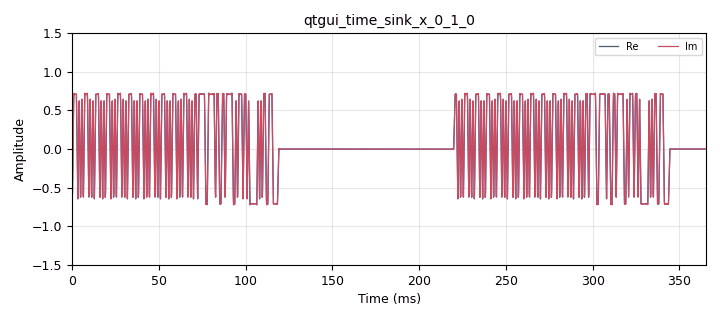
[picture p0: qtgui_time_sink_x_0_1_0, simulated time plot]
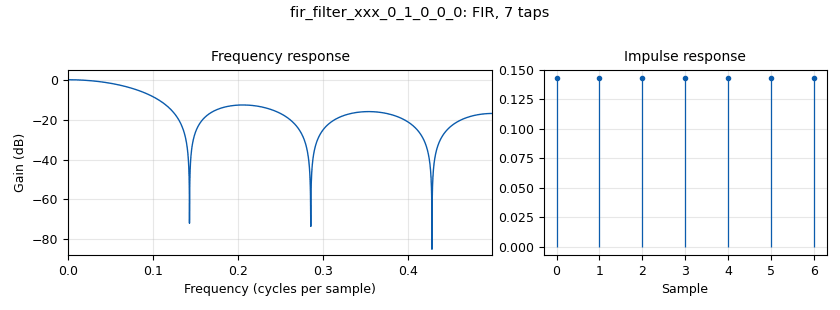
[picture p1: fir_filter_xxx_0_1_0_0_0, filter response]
<?xml version='1.0' encoding='utf-8'?>
<?grc format='1' created='3.7.11'?>
<!--
Copyright (C) 2016-2017 Andy Walls awalls.cx18@gmail.com
This file is part of GNU Radio
GNU Radio is free software; you can redistribute it and/or modify
it under the terms of the GNU General Public License as published by
the Free Software Foundation; either version 3, or (at your option)
any later version.
GNU Radio is distributed in the hope that it will be useful,
but WITHOUT ANY WARRANTY; without even the implied warranty of
MERCHANTABILITY or FITNESS FOR A PARTICULAR PURPOSE.  See the
GNU General Public License for more details.
You should have received a copy of the GNU General Public License
along with GNU Radio; see the file COPYING.  If not, write to
the Free Software Foundation, Inc., 51 Franklin Street,
Boston, MA 02110-1301, USA.
-->
<flow_graph>
<block>
<key>options</key>
<param><key>id</key><value>symbol_sync_test_complex</value></param>
<param><key>author</key><value>Andy Walls</value></param>
<param><key>category</key><value>Custom</value></param>
<param><key>generate_options</key><value>qt_gui</value></param>
<param><key>title</key><value>Symbol Sync Test (Complex)</value></param>
</block>
<block>
<key>variable</key>
<param><key>id</key><value>baud_rate</value></param>
<param><key>value</key><value>1200.0</value></param>
</block>
<block>
<key>variable_qtgui_chooser</key>
<param><key>id</key><value>data_src</value></param>
<param><key>value</key><value>4</value></param>
<param><key>gui_hint</key><value>0,0,1,1</value></param>
<param><key>label0</key><value>Random</value></param>
<param><key>label1</key><value>Low freq</value></param>
<param><key>label2</key><value>Dot Pattern</value></param>
<param><key>label3</key><value>Pulse</value></param>
<param><key>label4</key><value>Packets</value></param>
<param><key>num_opts</key><value>5</value></param>
<param><key>option0</key><value>0</value></param>
<param><key>option1</key><value>1</value></param>
<param><key>option2</key><value>2</value></param>
<param><key>option3</key><value>3</value></param>
<param><key>option4</key><value>4</value></param>
<param><key>type</key><value>int</value></param>
</block>
<block>
<key>variable_qtgui_range</key>
<param><key>id</key><value>fn_norm</value></param>
<param><key>value</key><value>0.030</value></param>
<param><key>gui_hint</key><value>1,1,1,1</value></param>
<param><key>label</key><value>Normalized Bandwidth</value></param>
<param><key>orient</key><value>Qt.Horizontal</value></param>
<param><key>start</key><value>0.0</value></param>
<param><key>step</key><value>0.001</value></param>
<param><key>stop</key><value>0.25</value></param>
</block>
<block>
<key>variable</key>
<param><key>id</key><value>gain_mu</value></param>
<param><key>value</key><value>2.0*math.exp(zeta*omega_n_norm)*((math.cosh(omega_d_norm) if zeta &gt; 1.0 else math.cos(omega_d_norm))-math.exp(-zeta*omega_n_norm))</value></param>
</block>
<block>
<key>variable_qtgui_label</key>
<param><key>id</key><value>gain_mu_label</value></param>
<param><key>value</key><value>"%8.6f" % gain_mu</value></param>
<param><key>gui_hint</key><value>1,2,1,1</value></param>
<param><key>label</key><value>Gain Mu</value></param>
<param><key>type</key><value>string</value></param>
</block>
<block>
<key>variable</key>
<param><key>id</key><value>gain_omega</value></param>
<param><key>value</key><value>2.0*math.exp(zeta*omega_n_norm)*(math.cosh(zeta*omega_n_norm)-(math.cosh(omega_d_norm) if zeta &gt; 1.0 else math.cos(omega_d_norm)))</value></param>
</block>
<block>
<key>variable_qtgui_label</key>
<param><key>id</key><value>gain_omega_label</value></param>
<param><key>value</key><value>"%8.6f" % gain_omega</value></param>
<param><key>gui_hint</key><value>0,2,1,1</value></param>
<param><key>label</key><value>Gain Omega</value></param>
<param><key>type</key><value>string</value></param>
</block>
<block>
<key>variable</key>
<param><key>id</key><value>omega_d_norm</value></param>
<param><key>value</key><value>omega_n_norm*math.sqrt((zeta*zeta-1.0) if zeta &gt; 1.0 else (1.0-zeta*zeta))</value></param>
</block>
<block>
<key>variable</key>
<param><key>id</key><value>omega_n_norm</value></param>
<param><key>value</key><value>2.0*math.pi*fn_norm</value></param>
</block>
<block>
<key>variable</key>
<param><key>id</key><value>osps</value></param>
<param><key>value</key><value>1</value></param>
</block>
<block>
<key>variable_tag_object</key>
<param><key>id</key><value>packet_time_est_tag</value></param>
<param><key>key</key><value>pmt.intern("test")</value></param>
<param><key>offset</key><value>9</value></param>
<param><key>src</key><value>pmt.intern("packet_vector_source")</value></param>
<param><key>value</key><value>pmt.from_double(0.0)</value></param>
</block>
<block>
<key>variable</key>
<param><key>id</key><value>sps</value></param>
<param><key>value</key><value>7</value></param>
</block>
<block>
<key>variable_qtgui_range</key>
<param><key>id</key><value>zeta</value></param>
<param><key>value</key><value>2.0</value></param>
<param><key>gui_hint</key><value>0,1,1,1</value></param>
<param><key>label</key><value>Damping Factor</value></param>
<param><key>orient</key><value>Qt.Horizontal</value></param>
<param><key>start</key><value>0.1</value></param>
<param><key>step</key><value>0.1</value></param>
<param><key>stop</key><value>5.0</value></param>
</block>
<block>
<key>analog_random_source_x</key>
<param><key>id</key><value>analog_random_source_x_0</value></param>
<param><key>max</key><value>2</value></param>
<param><key>min</key><value>0</value></param>
<param><key>num_samps</key><value>16384</value></param>
<param><key>type</key><value>short</value></param>
<param><key>repeat</key><value>True</value></param>
</block>
<block>
<key>blocks_add_xx</key>
<param><key>id</key><value>blocks_add_xx_0</value></param>
<param><key>type</key><value>short</value></param>
<param><key>num_inputs</key><value>5</value></param>
</block>
<block>
<key>blocks_char_to_float</key>
<param><key>id</key><value>blocks_char_to_float_2</value></param>
<param><key>scale</key><value>1</value></param>
</block>
<block>
<key>blocks_float_to_char</key>
<param><key>id</key><value>blocks_float_to_char_0</value></param>
<param><key>scale</key><value>1</value></param>
</block>
<block>
<key>blocks_float_to_complex</key>
<param><key>id</key><value>blocks_float_to_complex_0</value></param>
</block>
<block>
<key>blocks_float_to_complex</key>
<param><key>id</key><value>blocks_float_to_complex_1</value></param>
</block>
<block>
<key>blocks_float_to_complex</key>
<param><key>id</key><value>blocks_float_to_complex_2</value></param>
</block>
<block>
<key>blocks_float_to_complex</key>
<param><key>id</key><value>blocks_float_to_complex_3</value></param>
</block>
<block>
<key>blocks_multiply_const_vxx</key>
<param><key>id</key><value>blocks_multiply_const_vxx_0</value></param>
<param><key>const</key><value>1 if data_src == 4 else 0</value></param>
<param><key>type</key><value>short</value></param>
</block>
<block>
<key>blocks_multiply_const_vxx</key>
<param><key>id</key><value>blocks_multiply_const_vxx_0_0</value></param>
<param><key>const</key><value>1 if data_src == 3 else 0</value></param>
<param><key>type</key><value>short</value></param>
</block>
<block>
<key>blocks_multiply_const_vxx</key>
<param><key>id</key><value>blocks_multiply_const_vxx_0_0_0</value></param>
<param><key>const</key><value>1 if data_src == 2 else 0</value></param>
<param><key>type</key><value>short</value></param>
</block>
<block>
<key>blocks_multiply_const_vxx</key>
<param><key>id</key><value>blocks_multiply_const_vxx_0_0_0_0</value></param>
<param><key>const</key><value>1 if data_src == 1 else 0</value></param>
<param><key>type</key><value>short</value></param>
</block>
<block>
<key>blocks_multiply_const_vxx</key>
<param><key>id</key><value>blocks_multiply_const_vxx_0_0_0_0_0</value></param>
<param><key>const</key><value>1 if data_src == 0 else 0</value></param>
<param><key>type</key><value>short</value></param>
</block>
<block>
<key>blocks_multiply_const_vxx</key>
<param><key>id</key><value>blocks_multiply_const_vxx_1</value></param>
<param><key>const</key><value>0.707+0.707j</value></param>
<param><key>type</key><value>complex</value></param>
</block>
<block>
<key>blocks_repeat</key>
<param><key>id</key><value>blocks_repeat_0</value></param>
<param><key>interp</key><value>sps*2</value></param>
<param><key>type</key><value>float</value></param>
</block>
<block>
<key>blocks_short_to_float</key>
<param><key>id</key><value>blocks_short_to_float_0</value></param>
<param><key>scale</key><value>1</value></param>
</block>
<block>
<key>blocks_throttle</key>
<param><key>id</key><value>blocks_throttle_0</value></param>
<param><key>samples_per_second</key><value>baud_rate*10</value></param>
<param><key>type</key><value>short</value></param>
</block>
<block>
<key>blocks_vector_source_x</key>
<param><key>id</key><value>blocks_vector_source_x_0_0</value></param>
<param><key>type</key><value>short</value></param>
<param><key>repeat</key><value>True</value></param>
<param><key>vector</key><value>(0, 1, 0, 1, 0, 1, 0, 1)</value></param>
</block>
<block>
<key>blocks_vector_source_x</key>
<param><key>id</key><value>blocks_vector_source_x_0_0_0</value></param>
<param><key>type</key><value>short</value></param>
<param><key>repeat</key><value>True</value></param>
<param><key>vector</key><value>(0,0,0,0,1,1,1,1)</value></param>
</block>
<block>
<key>blocks_vector_source_x</key>
<param><key>id</key><value>blocks_vector_source_x_0_0_1</value></param>
<param><key>type</key><value>short</value></param>
<param><key>repeat</key><value>True</value></param>
<param><key>vector</key><value>[1]+[0]*7</value></param>
</block>
<block>
<key>blocks_vector_source_x</key>
<param><key>id</key><value>blocks_vector_source_x_0_0_1_0</value></param>
<param><key>type</key><value>short</value></param>
<param><key>repeat</key><value>True</value></param>
<param><key>tags</key><value>[packet_time_est_tag]</value></param>
<param><key>vector</key><value>[1,0]*(4*12*0)+[1,1,0,1,0,1,0,1]*12+[1,0,1,1,1,1,1,0,0,1]+[1,1,1,1,0,1,1,0,0,1]+[1,0,1,1,1,1,1,0,0,1]+[0,1,1,1,0,1,1,0,1,0]+[0,0,0,0,0,1,0,1,0,1,1,0,0,1,1,1,0,0,0,0]+[2]*128</value></param>
</block>
<block>
<key>digital_map_bb</key>
<param><key>id</key><value>digital_map_bb_0</value></param>
<param><key>map</key><value>[-1, 1,0]</value></param>
</block>
<block>
<key>digital_symbol_sync_mm_xx</key>
<param><key>id</key><value>digital_symbol_sync_mm_xx_0</value></param>
<param><key>damping</key><value>zeta</value></param>
<param><key>type</key><value>cc</value></param>
<param><key>loop_bw</key><value>fn_norm</value></param>
<param><key>max_dev</key><value>1.5</value></param>
<param><key>osps</key><value>osps</value></param>
<param><key>sps</key><value>sps</value></param>
</block>
<block>
<key>fir_filter_xxx</key>
<param><key>id</key><value>fir_filter_xxx_0_1_0_0_0</value></param>
<param><key>decim</key><value>1</value></param>
<param><key>samp_delay</key><value>int((sps-1.0)/2.0)+4</value></param>
<param><key>taps</key><value>[1.0/float(sps)]*sps</value></param>
<param><key>type</key><value>fff</value></param>
</block>
<block>
<key>import</key>
<param><key>id</key><value>import_0</value></param>
<param><key>import</key><value>import math</value></param>
</block>
<block>
<key>qtgui_time_sink_x</key>
<param><key>id</key><value>qtgui_time_sink_x_0_0_0_0</value></param>
<param><key>gui_hint</key><value>3,1,1,2</value></param>
<param><key>color1</key><value>"blue"</value></param>
<param><key>label1</key><value>Soft Bits Re</value></param>
<param><key>marker1</key><value>0</value></param>
<param><key>color2</key><value>"magenta"</value></param>
<param><key>label2</key><value>Soft Bits Im</value></param>
<param><key>marker2</key><value>0</value></param>
<param><key>color3</key><value>"red"</value></param>
<param><key>label3</key><value>Error Re</value></param>
<param><key>color4</key><value>"dark red"</value></param>
<param><key>label4</key><value>Error Im</value></param>
<param><key>style4</key><value>0</value></param>
<param><key>color5</key><value>"green"</value></param>
<param><key>label5</key><value>Instantaneous Period Re</value></param>
<param><key>color6</key><value>"dark green"</value></param>
<param><key>label6</key><value>Instantaneous Period Im</value></param>
<param><key>style6</key><value>0</value></param>
<param><key>color7</key><value>"black"</value></param>
<param><key>label7</key><value>Average Period Re</value></param>
<param><key>color8</key><value>"black"</value></param>
<param><key>label8</key><value>Average Period Im</value></param>
<param><key>style8</key><value>0</value></param>
<param><key>name</key><value>Clock Recovered Output and Debug</value></param>
<param><key>nconnections</key><value>4</value></param>
<param><key>size</key><value>256*osps</value></param>
<param><key>srate</key><value>baud_rate*osps</value></param>
<param><key>tr_delay</key><value>0.01</value></param>
<param><key>tr_level</key><value>0.1</value></param>
<param><key>tr_mode</key><value>qtgui.TRIG_MODE_NORM</value></param>
<param><key>tr_tag</key><value></value></param>
<param><key>type</key><value>complex</value></param>
<param><key>update_time</key><value>0.1</value></param>
<param><key>ymax</key><value>sps+2</value></param>
<param><key>ymin</key><value>-1.5</value></param>
</block>
<block>
<key>qtgui_time_sink_x</key>
<param><key>id</key><value>qtgui_time_sink_x_0_1_0</value></param>
<param><key>gui_hint</key><value>3,0,1,1</value></param>
<param><key>grid</key><value>True</value></param>
<param><key>color1</key><value>"blue"</value></param>
<param><key>label1</key><value>Re</value></param>
<param><key>color2</key><value>"red"</value></param>
<param><key>label2</key><value>Im</value></param>
<param><key>size</key><value>1024*3</value></param>
<param><key>srate</key><value>baud_rate*sps</value></param>
<param><key>tr_delay</key><value>0.01</value></param>
<param><key>tr_level</key><value>0.1</value></param>
<param><key>tr_mode</key><value>qtgui.TRIG_MODE_NORM</value></param>
<param><key>tr_tag</key><value></value></param>
<param><key>type</key><value>complex</value></param>
<param><key>ymax</key><value>1.5</value></param>
<param><key>ymin</key><value>-1.5</value></param>
</block>
<block>
<key>rational_resampler_xxx</key>
<param><key>id</key><value>rational_resampler_xxx_0_0</value></param>
<param><key>decim</key><value>21</value></param>
<param><key>fbw</key><value>0.45</value></param>
<param><key>interp</key><value>10</value></param>
<param><key>taps</key><value></value></param>
<param><key>type</key><value>fff</value></param>
</block>
<connection><source_block_id>analog_random_source_x_0</source_block_id><sink_block_id>blocks_multiply_const_vxx_0_0_0_0_0</sink_block_id><source_key>0</source_key><sink_key>0</sink_key></connection>
<connection><source_block_id>blocks_add_xx_0</source_block_id><sink_block_id>blocks_throttle_0</sink_block_id><source_key>0</source_key><sink_key>0</sink_key></connection>
<connection><source_block_id>blocks_char_to_float_2</source_block_id><sink_block_id>blocks_repeat_0</sink_block_id><source_key>0</source_key><sink_key>0</sink_key></connection>
<connection><source_block_id>blocks_float_to_char_0</source_block_id><sink_block_id>digital_map_bb_0</sink_block_id><source_key>0</source_key><sink_key>0</sink_key></connection>
<connection><source_block_id>blocks_float_to_complex_0</source_block_id><sink_block_id>qtgui_time_sink_x_0_0_0_0</sink_block_id><source_key>0</source_key><sink_key>1</sink_key></connection>
<connection><source_block_id>blocks_float_to_complex_1</source_block_id><sink_block_id>qtgui_time_sink_x_0_0_0_0</sink_block_id><source_key>0</source_key><sink_key>2</sink_key></connection>
<connection><source_block_id>blocks_float_to_complex_2</source_block_id><sink_block_id>qtgui_time_sink_x_0_0_0_0</sink_block_id><source_key>0</source_key><sink_key>3</sink_key></connection>
<connection><source_block_id>blocks_float_to_complex_3</source_block_id><sink_block_id>blocks_multiply_const_vxx_1</sink_block_id><source_key>0</source_key><sink_key>0</sink_key></connection>
<connection><source_block_id>blocks_multiply_const_vxx_0</source_block_id><sink_block_id>blocks_add_xx_0</sink_block_id><source_key>0</source_key><sink_key>4</sink_key></connection>
<connection><source_block_id>blocks_multiply_const_vxx_0_0</source_block_id><sink_block_id>blocks_add_xx_0</sink_block_id><source_key>0</source_key><sink_key>3</sink_key></connection>
<connection><source_block_id>blocks_multiply_const_vxx_0_0_0</source_block_id><sink_block_id>blocks_add_xx_0</sink_block_id><source_key>0</source_key><sink_key>2</sink_key></connection>
<connection><source_block_id>blocks_multiply_const_vxx_0_0_0_0</source_block_id><sink_block_id>blocks_add_xx_0</sink_block_id><source_key>0</source_key><sink_key>1</sink_key></connection>
<connection><source_block_id>blocks_multiply_const_vxx_0_0_0_0_0</source_block_id><sink_block_id>blocks_add_xx_0</sink_block_id><source_key>0</source_key><sink_key>0</sink_key></connection>
<connection><source_block_id>blocks_multiply_const_vxx_1</source_block_id><sink_block_id>digital_symbol_sync_mm_xx_0</sink_block_id><source_key>0</source_key><sink_key>0</sink_key></connection>
<connection><source_block_id>blocks_multiply_const_vxx_1</source_block_id><sink_block_id>qtgui_time_sink_x_0_1_0</sink_block_id><source_key>0</source_key><sink_key>0</sink_key></connection>
<connection><source_block_id>blocks_repeat_0</source_block_id><sink_block_id>rational_resampler_xxx_0_0</sink_block_id><source_key>0</source_key><sink_key>0</sink_key></connection>
<connection><source_block_id>blocks_short_to_float_0</source_block_id><sink_block_id>blocks_float_to_char_0</sink_block_id><source_key>0</source_key><sink_key>0</sink_key></connection>
<connection><source_block_id>blocks_throttle_0</source_block_id><sink_block_id>blocks_short_to_float_0</sink_block_id><source_key>0</source_key><sink_key>0</sink_key></connection>
<connection><source_block_id>blocks_vector_source_x_0_0</source_block_id><sink_block_id>blocks_multiply_const_vxx_0_0_0</sink_block_id><source_key>0</source_key><sink_key>0</sink_key></connection>
<connection><source_block_id>blocks_vector_source_x_0_0_0</source_block_id><sink_block_id>blocks_multiply_const_vxx_0_0_0_0</sink_block_id><source_key>0</source_key><sink_key>0</sink_key></connection>
<connection><source_block_id>blocks_vector_source_x_0_0_1</source_block_id><sink_block_id>blocks_multiply_const_vxx_0_0</sink_block_id><source_key>0</source_key><sink_key>0</sink_key></connection>
<connection><source_block_id>blocks_vector_source_x_0_0_1_0</source_block_id><sink_block_id>blocks_multiply_const_vxx_0</sink_block_id><source_key>0</source_key><sink_key>0</sink_key></connection>
<connection><source_block_id>digital_map_bb_0</source_block_id><sink_block_id>blocks_char_to_float_2</sink_block_id><source_key>0</source_key><sink_key>0</sink_key></connection>
<connection><source_block_id>digital_symbol_sync_mm_xx_0</source_block_id><sink_block_id>blocks_float_to_complex_2</sink_block_id><source_key>3</source_key><sink_key>0</sink_key></connection>
<connection><source_block_id>digital_symbol_sync_mm_xx_0</source_block_id><sink_block_id>blocks_float_to_complex_1</sink_block_id><source_key>2</source_key><sink_key>0</sink_key></connection>
<connection><source_block_id>digital_symbol_sync_mm_xx_0</source_block_id><sink_block_id>blocks_float_to_complex_0</sink_block_id><source_key>1</source_key><sink_key>0</sink_key></connection>
<connection><source_block_id>digital_symbol_sync_mm_xx_0</source_block_id><sink_block_id>qtgui_time_sink_x_0_0_0_0</sink_block_id><source_key>0</source_key><sink_key>0</sink_key></connection>
<connection><source_block_id>fir_filter_xxx_0_1_0_0_0</source_block_id><sink_block_id>blocks_float_to_complex_3</sink_block_id><source_key>0</source_key><sink_key>0</sink_key></connection>
<connection><source_block_id>rational_resampler_xxx_0_0</source_block_id><sink_block_id>fir_filter_xxx_0_1_0_0_0</sink_block_id><source_key>0</source_key><sink_key>0</sink_key></connection>
</flow_graph>
